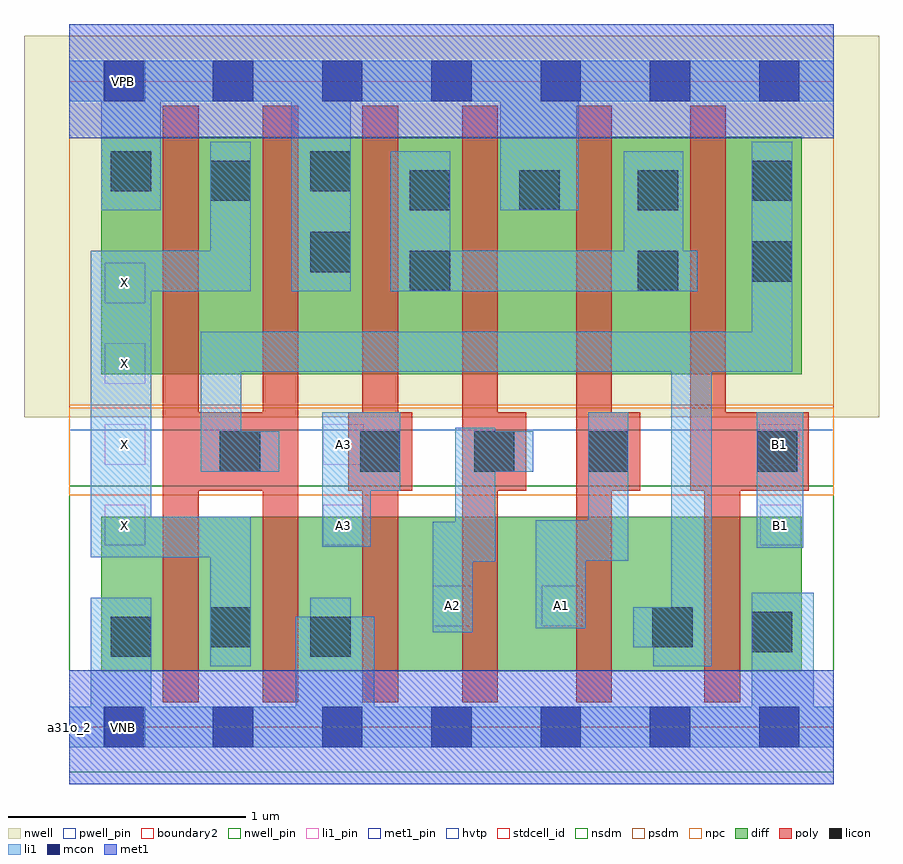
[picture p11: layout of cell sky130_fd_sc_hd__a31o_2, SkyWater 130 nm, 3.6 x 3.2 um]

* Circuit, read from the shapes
.subckt sky130_fd_sc_hd__a31o_2 A1 A2 A3 B1 VGND VNB VPB VPWR X
XM1 X n1 VGND VNB sky130_fd_pr__nfet_01v8 w=0.65 l=0.15 m=2
XM2 n2 A3 VGND VNB sky130_fd_pr__nfet_01v8 w=0.65 l=0.15
XM3 n3 A2 n2 VNB sky130_fd_pr__nfet_01v8 w=0.65 l=0.15
XM4 n1 A1 n3 VNB sky130_fd_pr__nfet_01v8 w=0.65 l=0.15
XM5 VGND B1 n1 VNB sky130_fd_pr__nfet_01v8 w=0.65 l=0.15
XM6 X n1 VPWR VPB sky130_fd_pr__pfet_01v8_hvt w=1 l=0.15 m=2
XM7 n4 A3 VPWR VPB sky130_fd_pr__pfet_01v8_hvt w=1 l=0.15
XM8 VPWR A2 n4 VPB sky130_fd_pr__pfet_01v8_hvt w=1 l=0.15
XM9 n4 A1 VPWR VPB sky130_fd_pr__pfet_01v8_hvt w=1 l=0.15
XM10 n1 B1 n4 VPB sky130_fd_pr__pfet_01v8_hvt w=1 l=0.15
.ends

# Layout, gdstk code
import gdstk
lib = gdstk.Library(unit=1e-6, precision=1e-09)
def R(c, l, rs):  # rectangles x0, y0, x1, y1
    for r in rs: c.add(gdstk.rectangle(r[:2], r[2:], *l))
def A(c, l, x, y, w, h, nx, ny, dx, dy):  # array of equal rectangles
    R(c, l, [(x+i*dx, y+j*dy, x+i*dx+w, y+j*dy+h) for i in range(nx) for j in range(ny)])
def P(c, l, *ps):  # polygons
    for p in ps: c.add(gdstk.Polygon(p, *l))
nwell_pin = (64, 16)
nwell = (64, 20)
diff = (65, 20)
poly = (66, 20)
licon = (66, 44)
li1_pin = (67, 16)
li1 = (67, 20)
mcon = (67, 44)
met1_pin = (68, 16)
met1 = (68, 20)
hvtp = (78, 44)
stdcell_id = (81, 4)
nsdm = (93, 44)
psdm = (94, 20)
npc = (95, 20)
pwell_pin = (122, 16)
boundary2 = (236, 0)

sky130_fd_sc_hd__a31o_2 = lib.new_cell('sky130_fd_sc_hd__a31o_2')
R(sky130_fd_sc_hd__a31o_2, nwell_pin, [(0.15,2.635,0.32,2.805)])
R(sky130_fd_sc_hd__a31o_2, nwell, [(-0.19,1.305,3.41,2.91)])
R(sky130_fd_sc_hd__a31o_2, diff, [(0.135,0.235,3.085,0.885), (0.135,1.485,3.085,2.485)])
R(sky130_fd_sc_hd__a31o_2, poly, [(2.675,0.105,2.825,0.995)])
P(sky130_fd_sc_hd__a31o_2, poly, [(3.115,1.325),(2.765,1.325),(2.765,2.615),(2.615,2.615),(2.615,0.995),(3.115,0.995)],
  [(2.405,1.325),(2.285,1.325),(2.285,2.615),(2.135,2.615),(2.135,0.105),(2.285,0.105),(2.285,0.995),(2.405,0.995)],
  [(1.925,1.325),(1.805,1.325),(1.805,2.615),(1.655,2.615),(1.655,0.105),(1.805,0.105),(1.805,0.995),(1.925,0.995)],
  [(1.445,1.325),(1.385,1.325),(1.385,2.615),(1.235,2.615),(1.235,1.325),(1.175,1.325),(1.175,0.995),(1.235,0.995),(1.235,0.105),(1.385,0.105),(1.385,0.995),(1.445,0.995)],
  [(0.965,2.615),(0.815,2.615),(0.815,1.325),(0.545,1.325),(0.545,2.615),(0.395,2.615),(0.395,0.105),(0.545,0.105),(0.545,0.995),(0.815,0.995),(0.815,0.105),(0.965,0.105)])
A(sky130_fd_sc_hd__a31o_2, licon, 1.225, 1.075, 0.17, 0.17, 3, 1, 0.48, 0)
R(sky130_fd_sc_hd__a31o_2, licon, [(0.175,0.295,0.345,0.465), (1.015,0.295,1.185,0.465), (2.875,0.315,3.045,0.485), (0.595,0.335,0.765,0.505), (2.455,0.335,2.625,0.505), (0.635,1.075,0.805,1.245), (2.895,1.075,3.065,1.245), (1.435,1.835,1.605,2.005), (2.395,1.835,2.565,2.005), (2.875,1.875,3.045,2.045), (1.015,1.915,1.185,2.085), (1.435,2.175,1.605,2.345), (1.895,2.175,2.065,2.345), (2.395,2.175,2.565,2.345), (0.595,2.215,0.765,2.385), (2.875,2.215,3.045,2.385), (0.175,2.255,0.345,2.425), (1.015,2.255,1.185,2.425)])
A(sky130_fd_sc_hd__a31o_2, li1_pin, 0.15, 0.765, 0.17, 0.17, 1, 4, 0, 0.34)
R(sky130_fd_sc_hd__a31o_2, li1_pin, [(1.53,0.425,1.7,0.595), (1.99,0.425,2.16,0.595), (1.07,0.765,1.24,0.935), (2.91,0.765,3.08,0.935), (1.07,1.105,1.24,1.275), (2.905,1.105,3.075,1.275)])
R(sky130_fd_sc_hd__a31o_2, li1, [(2.895,0.755,3.09,1.325)])
P(sky130_fd_sc_hd__a31o_2, li1, [(1.395,1.325),(1.065,1.325),(1.065,0.76),(1.27,0.76),(1.27,0.995),(1.395,0.995)],
  [(1.955,1.245),(1.795,1.245),(1.795,1.26),(1.625,1.26),(1.625,0.865),(1.53,0.865),(1.53,0.4),(1.7,0.4),(1.7,0.695),(1.795,0.695),(1.795,1.075),(1.955,1.075)],
  [(3.22,0.085),(3.135,0.085),(3.135,0.565),(2.875,0.565),(2.875,0.085),(1.285,0.085),(1.285,0.465),(1.185,0.465),(1.185,0.545),(1.015,0.545),(1.015,0.465),(0.955,0.465),(0.955,0.085),(0.345,0.085),(0.345,0.545),(0.09,0.545),(0.09,0.085),(0,0.085),(0,-0.085),(3.22,-0.085)],
  [(3.22,2.805),(0,2.805),(0,2.635),(0.135,2.635),(0.135,2.175),(0.385,2.175),(0.385,2.635),(0.935,2.635),(0.935,1.835),(1.185,1.835),(1.185,2.635),(1.815,2.635),(1.815,2.175),(2.145,2.175),(2.145,2.635),(3.22,2.635)],
  [(0.765,0.885),(0.345,0.885),(0.345,1.835),(0.765,1.835),(0.765,2.465),(0.595,2.465),(0.595,2.005),(0.09,2.005),(0.09,0.715),(0.595,0.715),(0.595,0.255),(0.765,0.255)],
  [(3.045,2.465),(2.875,2.465),(2.875,1.665),(0.555,1.665),(0.555,1.075),(0.885,1.075),(0.885,1.245),(0.725,1.245),(0.725,1.495),(2.535,1.495),(2.535,0.505),(2.375,0.505),(2.375,0.335),(2.46,0.335),(2.46,0.255),(2.705,0.255),(2.705,1.495),(3.045,1.495)],
  [(2.645,2.005),(2.585,2.005),(2.585,2.425),(2.335,2.425),(2.335,2.005),(1.605,2.005),(1.605,2.425),(1.355,2.425),(1.355,1.835),(2.645,1.835)],
  [(2.355,1.325),(2.185,1.325),(2.185,0.87),(1.965,0.87),(1.965,0.415),(2.175,0.415),(2.175,0.7),(2.355,0.7)])
A(sky130_fd_sc_hd__a31o_2, mcon, 0.145, -0.085, 0.17, 0.17, 7, 2, 0.46, 2.72)
R(sky130_fd_sc_hd__a31o_2, met1_pin, [(0.15,-0.085,0.32,0.085), (0.15,2.635,0.32,2.805)])
R(sky130_fd_sc_hd__a31o_2, hvtp, [(0,1.25,3.22,2.72)])
R(sky130_fd_sc_hd__a31o_2, stdcell_id, [(0,0,3.22,2.72)])
R(sky130_fd_sc_hd__a31o_2, nsdm, [(0,-0.19,3.22,1.015)])
R(sky130_fd_sc_hd__a31o_2, psdm, [(0,1.355,3.22,2.91)])
R(sky130_fd_sc_hd__a31o_2, npc, [(0,0.975,3.22,1.345)])
R(sky130_fd_sc_hd__a31o_2, pwell_pin, [(0.15,-0.085,0.32,0.085)])
R(sky130_fd_sc_hd__a31o_2, boundary2, [(0,0,3.22,2.72)])
sky130_fd_sc_hd__a31o_2.add(gdstk.FlexPath([(0,2.72),(3.22,2.72)], 0.48, ends="flush", simple_path=True, layer=68, datatype=20))  # met1
sky130_fd_sc_hd__a31o_2.add(gdstk.FlexPath([(0,0),(3.22,0)], 0.48, ends="flush", simple_path=True, layer=68, datatype=20))  # met1
sky130_fd_sc_hd__a31o_2.add(gdstk.Label('X', (0.235,0.85), layer=67, texttype=5))
sky130_fd_sc_hd__a31o_2.add(gdstk.Label('B1', (2.99,1.19), layer=67, texttype=5))
sky130_fd_sc_hd__a31o_2.add(gdstk.Label('X', (0.235,1.19), layer=67, texttype=5))
sky130_fd_sc_hd__a31o_2.add(gdstk.Label('X', (0.235,1.53), layer=67, texttype=5))
sky130_fd_sc_hd__a31o_2.add(gdstk.Label('X', (0.235,1.87), layer=67, texttype=5))
sky130_fd_sc_hd__a31o_2.add(gdstk.Label('A3', (1.155,0.85), layer=67, texttype=5))
sky130_fd_sc_hd__a31o_2.add(gdstk.Label('A1', (2.075,0.51), layer=67, texttype=5))
sky130_fd_sc_hd__a31o_2.add(gdstk.Label('B1', (2.995,0.85), layer=67, texttype=5))
sky130_fd_sc_hd__a31o_2.add(gdstk.Label('A3', (1.155,1.19), layer=67, texttype=5))
sky130_fd_sc_hd__a31o_2.add(gdstk.Label('A2', (1.615,0.51), layer=67, texttype=5))
sky130_fd_sc_hd__a31o_2.add(gdstk.Label('VNB', (0.23,0), layer=64, texttype=59))
sky130_fd_sc_hd__a31o_2.add(gdstk.Label('VPB', (0.23,2.72), layer=64, texttype=5))
sky130_fd_sc_hd__a31o_2.add(gdstk.Label('VGND', (0.23,0), layer=68, texttype=5))
sky130_fd_sc_hd__a31o_2.add(gdstk.Label('VPWR', (0.23,2.72), layer=68, texttype=5))
sky130_fd_sc_hd__a31o_2.add(gdstk.Label('a31o_2', (0,0), layer=83, texttype=44))

lib.write_gds('sky130_fd_sc_hd__a31o_2.gds')
